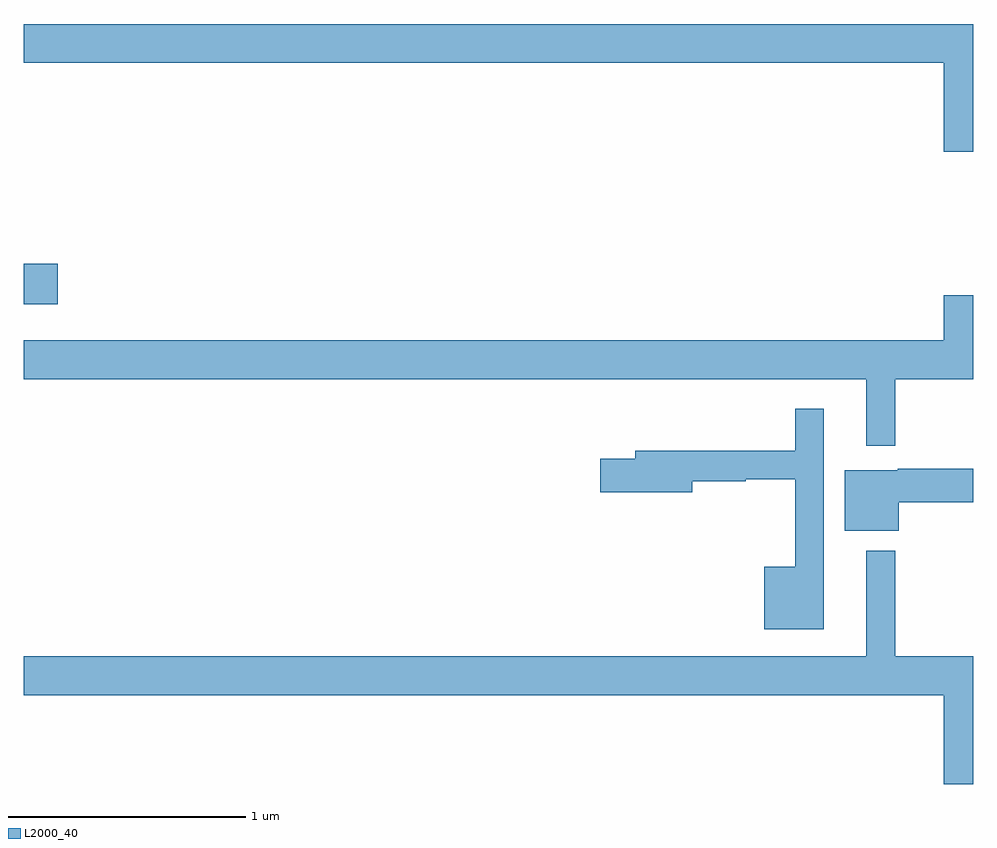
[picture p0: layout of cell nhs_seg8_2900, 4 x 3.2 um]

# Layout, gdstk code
import gdstk
lib = gdstk.Library(unit=1e-6, precision=1e-09)
def R(c, l, rs):  # rectangles x0, y0, x1, y1
    for r in rs: c.add(gdstk.rectangle(r[:2], r[2:], *l))
def P(c, l, *ps):  # polygons
    for p in ps: c.add(gdstk.Polygon(p, *l))
L2000_40 = (2000, 40)

nhs_seg8_2900 = lib.new_cell('nhs_seg8_2900')
R(nhs_seg8_2900, L2000_40, [(293,1126.139,293.143,1126.31)])
P(nhs_seg8_2900, L2000_40, [(297,1127.32),(293,1127.32),(293,1127.156),(296.876,1127.156),(296.876,1126.782),(297,1126.782)],
  [(296.671,1125.824),(297,1125.824),(297,1126.177),(296.876,1126.177),(296.876,1125.988),(293,1125.988),(293,1125.824),(296.549,1125.824),(296.549,1125.543),(296.671,1125.543)],
  [(296.371,1125.7),(296.25,1125.7),(296.25,1125.523),(295.577,1125.523),(295.577,1125.489),(295.428,1125.489),(295.428,1125.347),(295.816,1125.347),(295.816,1125.394),(296.042,1125.394),(296.042,1125.402),(296.25,1125.402),(296.25,1125.034),(296.12,1125.034),(296.12,1124.771),(296.371,1124.771)],
  [(296.686,1125.305),(297,1125.305),(297,1125.447),(296.682,1125.447),(296.682,1125.439),(296.459,1125.439),(296.459,1125.185),(296.686,1125.185)],
  [(297,1124.656),(296.671,1124.656),(296.671,1125.1),(296.549,1125.1),(296.549,1124.656),(293,1124.656),(293,1124.492),(296.876,1124.492),(296.876,1124.118),(297,1124.118)])

lib.write_gds('nhs_seg8_2900.gds')
